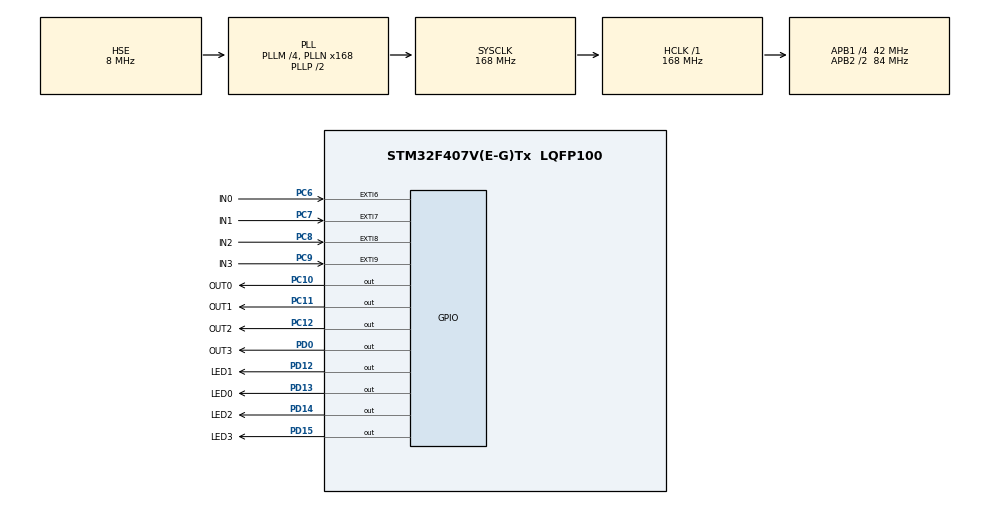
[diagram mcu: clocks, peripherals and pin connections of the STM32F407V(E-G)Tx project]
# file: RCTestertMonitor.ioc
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Mcu.Family=STM32F4
Mcu.Name=STM32F407V(E-G)Tx
Mcu.Package=LQFP100
NVIC.EXTI9_5_IRQn=true\:0\:3\:false\:false\:true
NVIC.PriorityGroup=NVIC_PRIORITYGROUP_0
PA13.Mode=Trace_Asynchronous_SW
PA13.Signal=SYS_JTMS-SWDIO
PA14.Mode=Trace_Asynchronous_SW
PA14.Signal=SYS_JTCK-SWCLK
PB3.Mode=Trace_Asynchronous_SW
PB3.Signal=SYS_JTDO-SWO
PC10.GPIO_Label=OUT0
PC10.GPIO_ModeDefaultOutputPP=GPIO_MODE_OUTPUT_PP
PC10.GPIO_PuPd=GPIO_PULLDOWN
PC10.GPIO_Speed=GPIO_SPEED_FREQ_VERY_HIGH
PC10.PinState=GPIO_PIN_RESET
PC10.Signal=GPIO_Output
PC11.GPIO_Label=OUT1
PC11.GPIO_ModeDefaultOutputPP=GPIO_MODE_OUTPUT_PP
PC11.GPIO_PuPd=GPIO_PULLDOWN
PC11.GPIO_Speed=GPIO_SPEED_FREQ_VERY_HIGH
PC11.PinState=GPIO_PIN_RESET
PC11.Signal=GPIO_Output
PC12.GPIO_Label=OUT2
PC12.GPIO_ModeDefaultOutputPP=GPIO_MODE_OUTPUT_PP
PC12.GPIO_PuPd=GPIO_PULLDOWN
PC12.GPIO_Speed=GPIO_SPEED_FREQ_VERY_HIGH
PC12.PinState=GPIO_PIN_RESET
PC12.Signal=GPIO_Output
PC6.GPIO_Label=IN0
PC6.GPIO_ModeDefaultEXTI=GPIO_MODE_IT_RISING_FALLING
PC6.GPIO_PuPd=GPIO_PULLDOWN
PC6.Signal=GPXTI6
PC7.GPIO_Label=IN1
PC7.GPIO_ModeDefaultEXTI=GPIO_MODE_IT_RISING_FALLING
PC7.GPIO_PuPd=GPIO_PULLDOWN
PC7.Signal=GPXTI7
PC8.GPIO_Label=IN2
PC8.GPIO_ModeDefaultEXTI=GPIO_MODE_IT_RISING_FALLING
PC8.GPIO_PuPd=GPIO_PULLDOWN
PC8.Signal=GPXTI8
PC9.GPIO_Label=IN3
PC9.GPIO_ModeDefaultEXTI=GPIO_MODE_IT_RISING_FALLING
PC9.GPIO_PuPd=GPIO_PULLDOWN
PC9.Signal=GPXTI9
PD0.GPIO_Label=OUT3
PD0.GPIO_ModeDefaultOutputPP=GPIO_MODE_OUTPUT_PP
PD0.GPIO_PuPd=GPIO_PULLDOWN
PD0.GPIO_Speed=GPIO_SPEED_FREQ_VERY_HIGH
PD0.PinState=GPIO_PIN_RESET
PD0.Signal=GPIO_Output
PD12.GPIO_Label=LED1
PD12.GPIO_ModeDefaultOutputPP=GPIO_MODE_OUTPUT_PP
PD12.GPIO_PuPd=GPIO_PULLDOWN
PD12.GPIO_Speed=GPIO_SPEED_FREQ_VERY_HIGH
PD12.PinState=GPIO_PIN_RESET
PD12.Signal=GPIO_Output
PD13.GPIO_Label=LED0
PD13.GPIO_ModeDefaultOutputPP=GPIO_MODE_OUTPUT_PP
PD13.GPIO_PuPd=GPIO_PULLDOWN
PD13.GPIO_Speed=GPIO_SPEED_FREQ_VERY_HIGH
PD13.PinState=GPIO_PIN_RESET
PD13.Signal=GPIO_Output
PD14.GPIO_Label=LED2
PD14.GPIO_ModeDefaultOutputPP=GPIO_MODE_OUTPUT_PP
PD14.GPIO_PuPd=GPIO_PULLDOWN
PD14.GPIO_Speed=GPIO_SPEED_FREQ_VERY_HIGH
PD14.PinState=GPIO_PIN_RESET
PD14.Signal=GPIO_Output
PD15.GPIO_Label=LED3
PD15.GPIO_ModeDefaultOutputPP=GPIO_MODE_OUTPUT_PP
PD15.GPIO_PuPd=GPIO_PULLDOWN
PD15.GPIO_Speed=GPIO_SPEED_FREQ_VERY_HIGH
PD15.PinState=GPIO_PIN_RESET
PD15.Signal=GPIO_Output
PH0-OSC_IN.Mode=HSE-External-Oscillator
PH0-OSC_IN.Signal=RCC_OSC_IN
PH1-OSC_OUT.Mode=HSE-External-Oscillator
PH1-OSC_OUT.Signal=RCC_OSC_OUT
ProjectManager.HeapSize=0x1000
ProjectManager.StackSize=0x1000
ProjectManager.TargetToolchain=MDK-ARM V5
RCC.48MHZClocksFreq_Value=48000000
RCC.AHBFreq_Value=168000000
RCC.APB1CLKDivider=RCC_HCLK_DIV4
RCC.APB1Freq_Value=42000000
RCC.APB1TimFreq_Value=84000000
RCC.APB2CLKDivider=RCC_HCLK_DIV2
RCC.APB2Freq_Value=84000000
RCC.APB2TimFreq_Value=168000000
RCC.CortexFreq_Value=168000000
RCC.HCLKFreq_Value=168000000
RCC.HSE_VALUE=8000000
RCC.HSI_VALUE=16000000
RCC.LSE_VALUE=32768
RCC.PLLM=4
RCC.PLLN=168
RCC.PLLQ=7
RCC.PLLSourceVirtual=RCC_PLLSOURCE_HSE
RCC.SYSCLKFreq_VALUE=168000000
RCC.SYSCLKSource=RCC_SYSCLKSOURCE_PLLCLK
RCC.VCOOutputFreq_Value=336000000
board=STM32F4DISCOVERY

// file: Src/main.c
/**
  ******************************************************************************
  * File Name          : main.c
  * Description        : Main program body
  ******************************************************************************
  *
  * COPYRIGHT(c) 2016 STMicroelectronics
  *
  * Redistribution and use in source and binary forms, with or without modification,
  * are permitted provided that the following conditions are met:
  *   1. Redistributions of source code must retain the above copyright notice,
  *      this list of conditions and the following disclaimer.
  *   2. Redistributions in binary form must reproduce the above copyright notice,
  *      this list of conditions and the following disclaimer in the documentation
  *      and/or other materials provided with the distribution.
  *   3. Neither the name of STMicroelectronics nor the names of its contributors
  *      may be used to endorse or promote products derived from this software
  *      without specific prior written permission.
  *
  * THIS SOFTWARE IS PROVIDED BY THE COPYRIGHT HOLDERS AND CONTRIBUTORS "AS IS"
  * AND ANY EXPRESS OR IMPLIED WARRANTIES, INCLUDING, BUT NOT LIMITED TO, THE
  * IMPLIED WARRANTIES OF MERCHANTABILITY AND FITNESS FOR A PARTICULAR PURPOSE ARE
  * DISCLAIMED. IN NO EVENT SHALL THE COPYRIGHT HOLDER OR CONTRIBUTORS BE LIABLE
  * FOR ANY DIRECT, INDIRECT, INCIDENTAL, SPECIAL, EXEMPLARY, OR CONSEQUENTIAL
  * DAMAGES (INCLUDING, BUT NOT LIMITED TO, PROCUREMENT OF SUBSTITUTE GOODS OR
  * SERVICES; LOSS OF USE, DATA, OR PROFITS; OR BUSINESS INTERRUPTION) HOWEVER
  * CAUSED AND ON ANY THEORY OF LIABILITY, WHETHER IN CONTRACT, STRICT LIABILITY,
  * OR TORT (INCLUDING NEGLIGENCE OR OTHERWISE) ARISING IN ANY WAY OUT OF THE USE
  * OF THIS SOFTWARE, EVEN IF ADVISED OF THE POSSIBILITY OF SUCH DAMAGE.
  *
  ******************************************************************************
  */
#include "stm32f4xx_hal.h"
#include "gpio.h"

/* USER CODE BEGIN PV */
/* Private variables ---------------------------------------------------------*/

/* USER CODE END PV */

void SystemClock_Config(void);
void Error_Handler(void);

/* USER CODE BEGIN PFP */
/* Private function prototypes -----------------------------------------------*/

/* USER CODE END PFP */

int main(void)
{

  /* MCU Configuration----------------------------------------------------------*/

  /* Reset of all peripherals, Initializes the Flash interface and the Systick. */
  HAL_Init();

  /* Configure the system clock */
  SystemClock_Config();

  /* Initialize all configured peripherals */
  MX_GPIO_Init();

  /* Infinite loop */
  while (1)
  {

  }

}

/** System Clock Configuration
*/
void SystemClock_Config(void)
{

  RCC_OscInitTypeDef RCC_OscInitStruct;
  RCC_ClkInitTypeDef RCC_ClkInitStruct;

  __HAL_RCC_PWR_CLK_ENABLE();

  __HAL_PWR_VOLTAGESCALING_CONFIG(PWR_REGULATOR_VOLTAGE_SCALE1);

  RCC_OscInitStruct.OscillatorType = RCC_OSCILLATORTYPE_HSE;
  RCC_OscInitStruct.HSEState = RCC_HSE_ON;
  RCC_OscInitStruct.PLL.PLLState = RCC_PLL_ON;
  RCC_OscInitStruct.PLL.PLLSource = RCC_PLLSOURCE_HSE;
  RCC_OscInitStruct.PLL.PLLM = 4;
  RCC_OscInitStruct.PLL.PLLN = 168;
  RCC_OscInitStruct.PLL.PLLP = RCC_PLLP_DIV2;
  RCC_OscInitStruct.PLL.PLLQ = 7;
  if (HAL_RCC_OscConfig(&RCC_OscInitStruct) != HAL_OK)
  {
    Error_Handler();
  }

  RCC_ClkInitStruct.ClockType = RCC_CLOCKTYPE_HCLK|RCC_CLOCKTYPE_SYSCLK
                              |RCC_CLOCKTYPE_PCLK1|RCC_CLOCKTYPE_PCLK2;
  RCC_ClkInitStruct.SYSCLKSource = RCC_SYSCLKSOURCE_PLLCLK;
  RCC_ClkInitStruct.AHBCLKDivider = RCC_SYSCLK_DIV1;
  RCC_ClkInitStruct.APB1CLKDivider = RCC_HCLK_DIV4;
  RCC_ClkInitStruct.APB2CLKDivider = RCC_HCLK_DIV2;
  if (HAL_RCC_ClockConfig(&RCC_ClkInitStruct, FLASH_LATENCY_5) != HAL_OK)
  {
    Error_Handler();
  }

  HAL_SYSTICK_Config(HAL_RCC_GetHCLKFreq()/1000);

  HAL_SYSTICK_CLKSourceConfig(SYSTICK_CLKSOURCE_HCLK);

  /* SysTick_IRQn interrupt configuration */
  HAL_NVIC_SetPriority(SysTick_IRQn, 0, 0);
}

/* USER CODE BEGIN 4 */

void HAL_GPIO_EXTI_Callback(uint16_t GPIO_Pin)
{
	GPIO_PinState value;
	GPIO_TypeDef* port;

	if (GPIO_Pin == IN0_Pin)
	{
		port = IN0_GPIO_Port;
		value = HAL_GPIO_ReadPin(port, GPIO_Pin);
		port = OUT0_GPIO_Port;
		HAL_GPIO_WritePin(port, OUT0_Pin, value);
		port = LED0_GPIO_Port;
		HAL_GPIO_WritePin(port, LED0_Pin, value);
	}
	else if (GPIO_Pin == IN1_Pin)
	{
		port = IN1_GPIO_Port;
		value = HAL_GPIO_ReadPin(port, GPIO_Pin);
		port = OUT1_GPIO_Port;
		HAL_GPIO_WritePin(port, OUT1_Pin, value);
		port = LED0_GPIO_Port;
		HAL_GPIO_WritePin(port, LED1_Pin, value);
	}
	else if (GPIO_Pin == IN2_Pin)
	{
		port = IN2_GPIO_Port;
		value = HAL_GPIO_ReadPin(port, GPIO_Pin);
		port = OUT2_GPIO_Port;
		HAL_GPIO_WritePin(port, OUT2_Pin, value);
		port = LED0_GPIO_Port;
		HAL_GPIO_WritePin(port, LED2_Pin, value);
	}
	else if (GPIO_Pin == IN3_Pin)
	{
		port = IN3_GPIO_Port;
		value = HAL_GPIO_ReadPin(port, GPIO_Pin);
		port = OUT3_GPIO_Port;
		HAL_GPIO_WritePin(port, OUT3_Pin, value);
		port = LED0_GPIO_Port;
		HAL_GPIO_WritePin(port, LED3_Pin, value);
	}
}
/* USER CODE END 4 */

void Error_Handler(void)
{
  while(1)
  {
  }
}

/************************ (C) COPYRIGHT STMicroelectronics *****END OF FILE****/
